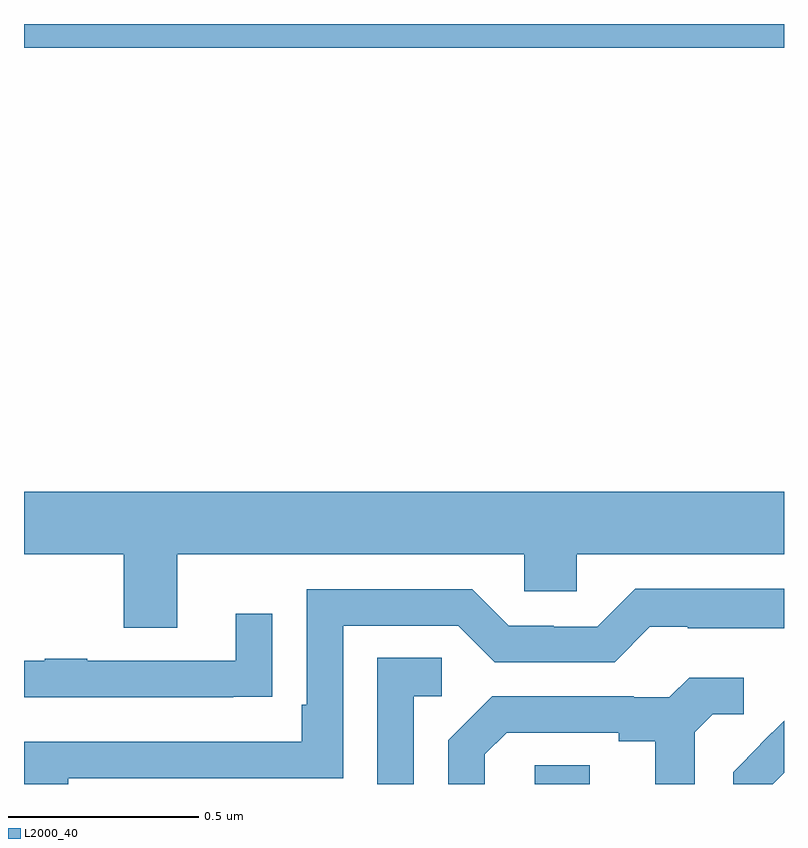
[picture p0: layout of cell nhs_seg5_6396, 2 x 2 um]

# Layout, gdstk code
import gdstk
lib = gdstk.Library(unit=1e-6, precision=1e-09)
def R(c, l, rs):  # rectangles x0, y0, x1, y1
    for r in rs: c.add(gdstk.rectangle(r[:2], r[2:], *l))
def P(c, l, *ps):  # polygons
    for p in ps: c.add(gdstk.Polygon(p, *l))
L2000_40 = (2000, 40)

nhs_seg5_6396 = lib.new_cell('nhs_seg5_6396')
R(nhs_seg5_6396, L2000_40, [(196.344,878.799,196.489,878.849), (195,880.736,197,880.799)])
P(nhs_seg5_6396, L2000_40, [(195.403,879.404),(196.317,879.404),(196.317,879.306),(196.455,879.306),(196.455,879.404),(197,879.404),(197,879.568),(195,879.568),(195,879.404),(195.263,879.404),(195.263,879.21),(195.403,879.21)],
  [(195.116,878.814),(195.84,878.814),(195.84,879.216),(196.143,879.216),(196.239,879.12),(196.554,879.12),(196.647,879.213),(196.747,879.213),(196.747,879.209),(197,879.209),(197,879.313),(196.609,879.313),(196.509,879.213),(196.394,879.213),(196.394,879.216),(196.275,879.216),(196.179,879.312),(195.744,879.312),(195.744,879.007),(195.731,879.007),(195.731,878.91),(195,878.91),(195,878.799),(195.116,878.799)],
  [(195.551,879.028),(195.653,879.028),(195.653,879.247),(195.557,879.247),(195.557,879.123),(195.167,879.123),(195.167,879.128),(195.055,879.128),(195.055,879.123),(195,879.123),(195,879.027),(195.551,879.027)],
  [(196.026,879.03),(196.099,879.03),(196.099,879.131),(195.93,879.131),(195.93,878.799),(196.026,878.799)],
  [(196.213,878.877),(196.27,878.934),(196.565,878.934),(196.565,878.912),(196.661,878.912),(196.661,878.799),(196.765,878.799),(196.765,878.935),(196.812,878.982),(196.894,878.982),(196.894,879.079),(196.75,879.079),(196.698,879.027),(196.604,879.027),(196.604,879.03),(196.232,879.03),(196.116,878.914),(196.116,878.799),(196.213,878.799)],
  [(197,878.828),(197,878.966),(196.938,878.904),(196.939,878.903),(196.866,878.83),(196.866,878.799),(196.971,878.799)])

lib.write_gds('nhs_seg5_6396.gds')
